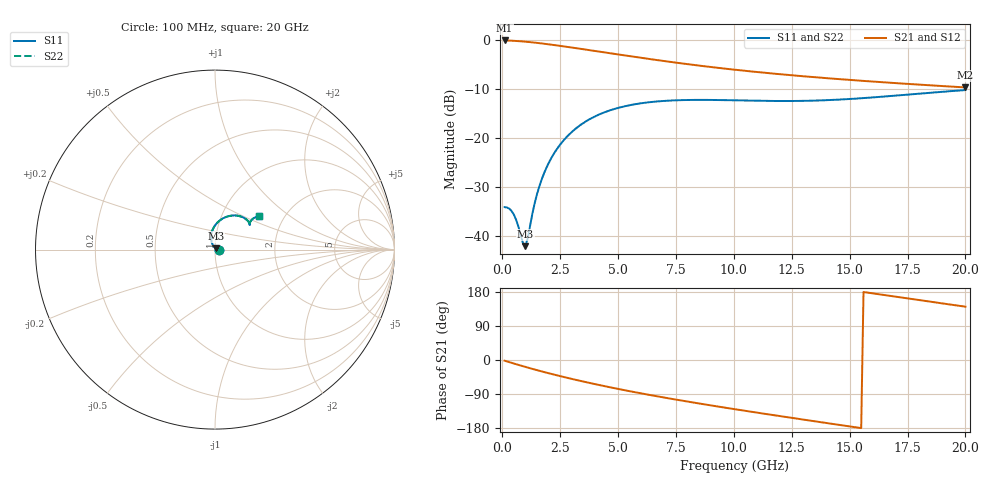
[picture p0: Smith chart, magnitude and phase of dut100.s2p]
! Touchstone file exported from HFSS 2023.1.0
!  File:  D:/Users/fzz/RDL_TSV/temp_RDL_TSV_100_1778749007.aedt
!  Generated:  5:08:22 %x4E0B%x5348  5%x6708 14, 2026
!  Design:  RDL_TSV
!  Project:  temp_RDL_TSV_100_1778749007
!  Setup:  Setup1
!  Solution:  Sweep
! Variables:
!  dtsv = 10.34um
!  hbump = 3um
!  htsv = 89.19um
!  ldown = 627.04um
!  lrdl = 270.55um
!  p = 40
!  p1 = 42.15um
!  rhole = 10um
!  subl = 2963.32um
!  t = 450um
!  tdown = 4.94um
!  trdl = 2.01um
!  viad = 10um
!  wdown = 18.23um
!  wrdl = 16.16um
!  xbump = 18um
# GHz S MA R 50.000000
! Terminal data exported
! Port[1] = TM1_1_T1
! Port[2] = TM1_4_T1
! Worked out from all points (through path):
!   200 points, 100 MHz to 20 GHz, reference 50 ohm
!   highest |S21| = -0.18 dB at 100 MHz (marker M1); lowest = -9.7 dB at 20 GHz (marker M2)
!   group delay of S21, straight-line fit = 28.8 ps
!   lowest |S11| = -42.1 dB at 1 GHz (marker M3), VSWR 1.02, Z = 50.4 + j0.702 ohm
!   |S11| at or under -10 dB: start of sweep to end of sweep
!   |S22| runs from -42.1 to -10.3 dB; largest |S21 - S12| = 3.8e-14
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0.1  0.01969 1.3  0.9798 -1.9  0.9798 -1.9  0.01969 1.3
! Gamma 0 0 0 0
! Port Impedance 50 0 50 0
0.3  0.01899 2.4  0.9767 -5.7  0.9767 -5.7  0.01899 2.4
0.5  0.01651 3.6  0.9717 -9.3  0.9717 -9.3  0.01652 3.6
0.7  0.01239 10.1  0.965 -13.0  0.965 -13.0  0.0124 10.1
0.9  0.008303 36.3  0.9568 -16.5  0.9568 -16.5  0.008309 36.2
1  0.007881 62.2  0.9523 -18.3  0.9523 -18.3  0.007874 62.0
1.1  0.009519 86.5  0.9474 -20.0  0.9474 -20.0  0.009499 86.4
1.3  0.01691 109.2  0.937 -23.5  0.937 -23.5  0.01688 109.1
1.5  0.0267 114.8  0.9258 -26.8  0.9258 -26.8  0.02665 114.8
1.7  0.03761 115.1  0.9139 -30.1  0.9139 -30.1  0.03755 115.1
1.9  0.04918 113.3  0.9015 -33.3  0.9015 -33.3  0.0491 113.3
2.2  0.06715 109.1  0.8824 -38.0  0.8824 -38.0  0.06706 109.1
2.6  0.09128 102.6  0.8563 -44.1  0.8563 -44.1  0.09116 102.6
3.5  0.1414 87.9  0.7978 -56.9  0.7978 -56.9  0.1412 87.9
4.9  0.1985 68.9  0.7121 -75.1  0.7121 -75.1  0.1982 68.9
6.8  0.2357 51.0  0.6132 -97.0  0.6132 -97.0  0.2354 51.0
8.4  0.2432 41.7  0.547 -113.8  0.547 -113.8  0.243 41.7
10.1  0.2406 36.6  0.4917 -130.4  0.4917 -130.4  0.2403 36.6
11.7  0.2371 35.3  0.4506 -145.4  0.4506 -145.4  0.2369 35.4
13.4  0.2388 36.3  0.4157 -160.9  0.4157 -160.9  0.2387 36.4
16.7  0.2655 39.1  0.3642 169.6  0.3642 169.6  0.2655 39.1
20  0.3062 37.4  0.3258 140.7  0.3258 140.7  0.3063 37.4
